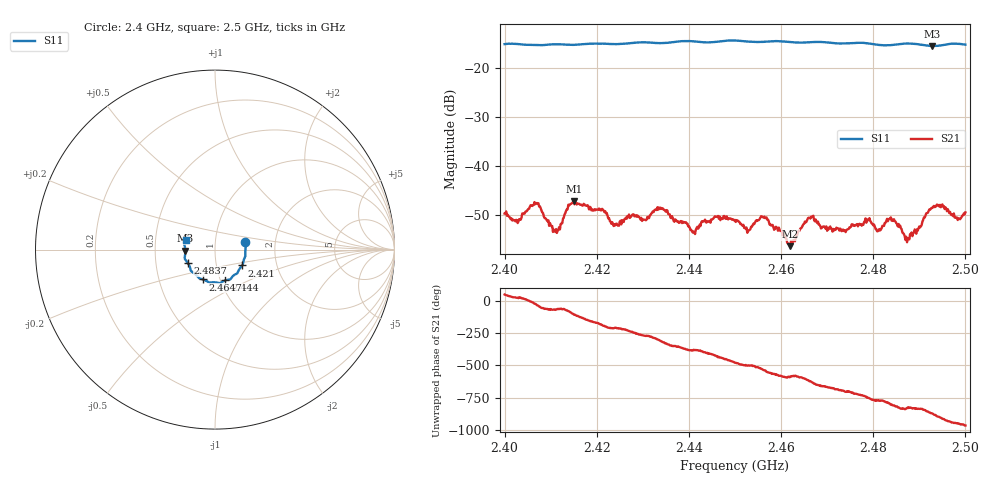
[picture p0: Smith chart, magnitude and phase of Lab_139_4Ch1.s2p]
# Hz S RI R 50
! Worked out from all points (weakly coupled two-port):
!   601 points, 2.4 GHz to 2.5 GHz, reference 50 ohm
!   highest |S21| = -47.15 dB at 2.415 GHz (marker M1); lowest = -56.3 dB at 2.462 GHz (marker M2)
!   lowest |S11| = -15.6 dB at 2.4928 GHz (marker M3), VSWR 1.40, Z = 35.8 - j0.386 ohm
!   |S11| at or under -10 dB: start of sweep to end of sweep
!   S12 and S22 are empty: the file has one direction only
!   S11 on the Smith chart (normalised r, x): 2.4 GHz: 1.40, +0.12; 2.421 GHz: 1.33, -0.24; 2.444 GHz: 1.06, -0.37; 2.4647 GHz: 0.83, -0.29; 2.4837 GHz: 0.73, -0.11; 2.5 GHz: 0.72, +0.08
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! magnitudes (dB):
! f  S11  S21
! 2.4 GHz  -15.2  -49.7
! 2.403 GHz  -15.2  -51.3
! 2.407 GHz  -15.4  -47.5
! 2.411 GHz  -15.3  -53.4
! 2.415 GHz  -15.4  -47.1
! 2.4167 GHz  -15.3  -47.9
! 2.421 GHz  -15.1  -49.0
! 2.4242 GHz  -15.2  -51.8
! 2.4333 GHz  -15.0  -48.9
! 2.4408 GHz  -14.6  -53.5
! 2.444 GHz  -14.9  -51.3
! 2.45 GHz  -14.5  -51.0
! 2.4563 GHz  -14.7  -50.3
! 2.462 GHz  -14.8  -56.3
! 2.4647 GHz  -14.9  -52.2
! 2.4667 GHz  -14.8  -50.4
! 2.4737 GHz  -15.1  -53.3
! 2.4833 GHz  -15.5  -50.9
! 2.4837 GHz  -15.4  -50.7
! 2.4873 GHz  -15.1  -55.5
! 2.4928 GHz  -15.6  -48.6
! 2.5 GHz  -15.3  -49.5
